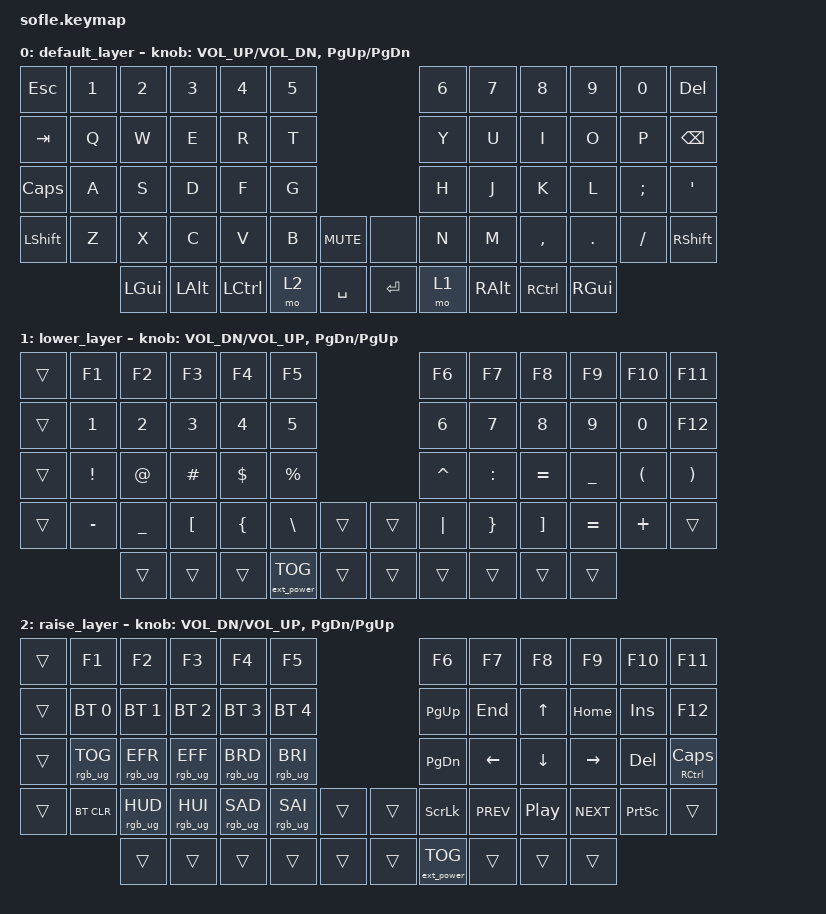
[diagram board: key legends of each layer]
/*
 * Copyright (c) 2020 The ZMK Contributors
 * hhJ
 * SPDX-License-Identifier: MIT
 */

#include <behaviors.dtsi>
#include <dt-bindings/zmk/keys.h>
#include <dt-bindings/zmk/bt.h>
#include <dt-bindings/zmk/ext_power.h>
#include <dt-bindings/zmk/rgb.h>
#include <dt-bindings/zmk/outputs.h>


/ {
    macros {
        ms_selall: selall {
            label = "selall";
            compatible = "zmk,behavior-macro";
            #binding-cells = <0>;
            bindings
                = <&macro_press &kp LCTRL>
                , <&macro_tap &kp A>
                , <&macro_release &kp LCTRL>
                ;
        };
    };
};

/ {
    macros {
        ms_copy: ms_copy {
            label = "ms_copy";
            compatible = "zmk,behavior-macro";
            #binding-cells = <0>;
            bindings
                = <&macro_press &kp LCTRL>
                , <&macro_tap &kp C>
                , <&macro_release &kp LCTRL>
                ;
        };
    };
};

/ {
    macros {
        ms_paste: ms_paste {
            label = "ms_paste";
            compatible = "zmk,behavior-macro";
            #binding-cells = <0>;
            bindings
                = <&macro_press &kp LCTRL>
                , <&macro_tap &kp V>
                , <&macro_release &kp LCTRL>
                ;
        };
    };
};




/ {
    keymap {
        compatible = "zmk,keymap";

        default_layer {
// ------------------------------------------------------------------------------------------------------------
// |  ESC    |  1  |  2  |  3   |  4   |  5   |                   |  6   |  7    |  8    |  9   |   0   | DEL |
// |  TAB  |  Q  |  W  |  E   |  R   |  T   |                   |  Y   |  U    |  I    |  O   |   P   | BKSPC |
// |  CAPS  |  A  |  S  |  D   |  F   |  G   |                   |  H   |  J    |  K    |  L   |   ;   |   '   |
// | SHIFT |  Z  |  X  |  C   |  V   |  B   |  MUTE  |  |       |  N   |  M    |  ,    |  .   |   /   | SHIFT |
//               | GUI | ALT  | CTRL | RAISE|  SPACE |  | ENTER | LOWER| ALT  | CTRL   | GUI  |
            bindings = <
&kp ESC &kp N1 &kp N2   &kp N3   &kp N4    &kp N5                      &kp N6 &kp N7    &kp N8    &kp N9   &kp N0   &kp DEL
&kp TAB   &kp Q  &kp W    &kp E    &kp R     &kp T                       &kp Y  &kp U     &kp I     &kp O    &kp P    &kp BSPC
&kp CLCK   &kp A  &kp S    &kp D    &kp F     &kp G                       &kp H  &kp J     &kp K     &kp L    &kp SEMI &kp SQT
&kp LSHFT &kp Z  &kp X  &kp C   &kp V     &kp B  &kp C_MUTE &none     &kp N  &kp M     &kp COMMA &kp DOT  &kp FSLH &kp RSHFT
                 &kp LGUI &kp LALT &kp LCTRL &mo 2  &kp SPACE    &kp RET &mo 1  &kp RALT &kp RCTRL  &kp RGUI
            >;

            sensor-bindings = <&inc_dec_kp C_VOL_UP C_VOL_DN &inc_dec_kp PG_UP PG_DN>;
        };

        lower_layer {
// ------------------------------------------------------------------------------------------------------------
// |       |  F1 |  F2 |  F3  |  F4  |  F5  |                   |  F6  |  F7   |  F8   |  F9  |  F10  |  F11  |
// |       |   1 |   2 |   3  |   4  |   5  |                   |   6  |   7   |   8   |   9  |    0  |  F12  |
// |       |  !  |  @  |  #   |  $   |  %   |                   |  ^   |  :    |  =    |  _   |   (   |   )   |
// |       |  -  |  _  |  [   |  {   |  \   |        |  |       |  |   |  }    |  ]    |  =   |   +   |       |
//               |     |      |      |      |        |  |       |      |       |       |      |
            bindings = <
&trans &kp F1    &kp F2    &kp F3   &kp F4    &kp F5                           &kp F6    &kp F7   &kp F8          &kp F9    &kp F10   &kp F11
&trans &kp N1    &kp N2    &kp N3   &kp N4    &kp N5                           &kp N6    &kp N7   &kp N8          &kp N9    &kp N0    &kp F12
&trans &kp EXCL  &kp AT    &kp HASH &kp DLLR  &kp PRCNT                        &kp CARET &kp COLON &kp EQUAL &kp UNDER  &kp LPAR  &kp RPAR
&trans &kp MINUS &kp UNDER &kp LBKT &kp LBRC  &kp BSLH          &trans  &trans &kp PIPE  &kp RBRC &kp RBKT        &kp EQUAL &kp PLUS  &trans
                 &trans    &trans   &trans    &ext_power EP_TOG &trans  &trans &trans    &trans   &trans          &trans
            >;

            sensor-bindings = <&inc_dec_kp C_VOL_DN C_VOL_UP &inc_dec_kp PG_DN PG_UP>;
        };

        raise_layer {
// ------------------------------------------------------------------------------------------------------------
// |     |  F1  |  F2  |  F3   |  F4   |  F5  |                |  F6  |  F7  |  F8   |  F9  |  F10  |  F11  |
// |     | BT1  | BT2  |  BT3  |  BT4  |  BT5 |                | PGUP |  END |   ^   | HOME |  INS  |  F12  |
// |     | RGBT | RGB- | RGB+  |  BR-  |  BR+ |                | PGDN |   <- |   v   | ->   |  DEL  | C/CAPS|
// |     |BTCLR | HUD  | HUI   |  SAD  |  SAI |      |  |      | SCRL | PRVS | PLAY  | NEXT |  PSCR |       |
//              |      |       |       |      |      |  |      |      |      |       |      |
            bindings = <
&trans &kp F1          &kp F2          &kp F3          &kp F4          &kp F5                         &kp F6             &kp F7     &kp F8   &kp F9     &kp F10   &kp F11
&trans &bt BT_SEL 0    &bt BT_SEL 1    &bt BT_SEL 2    &bt BT_SEL 3    &bt BT_SEL 4                   &kp PG_UP          &kp END    &kp UP   &kp HOME   &kp INS   &kp F12
&trans &rgb_ug RGB_TOG &rgb_ug RGB_EFR &rgb_ug RGB_EFF &rgb_ug RGB_BRD &rgb_ug RGB_BRI                &kp PG_DN          &kp LEFT   &kp DOWN &kp RIGHT  &kp DEL   &mt RCTRL CLCK
&trans &bt BT_CLR      &rgb_ug RGB_HUD &rgb_ug RGB_HUI &rgb_ug RGB_SAD &rgb_ug RGB_SAI &trans  &trans &kp SLCK           &kp C_PREV &kp C_PP &kp C_NEXT &kp PSCRN &trans
                       &trans          &trans          &trans          &trans          &trans  &trans &ext_power EP_TOG  &trans     &trans   &trans
            >;

            sensor-bindings = <&inc_dec_kp C_VOL_DN C_VOL_UP &inc_dec_kp PG_DN PG_UP>;
        };
    };
};
